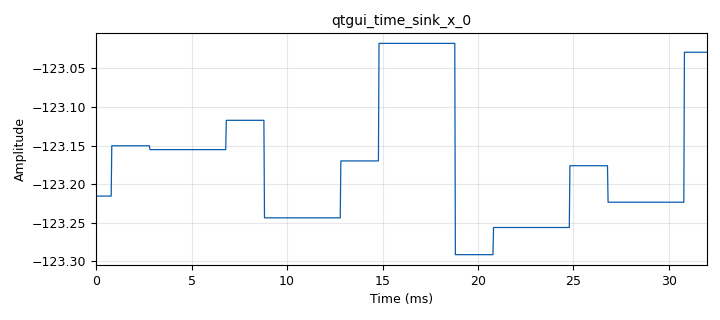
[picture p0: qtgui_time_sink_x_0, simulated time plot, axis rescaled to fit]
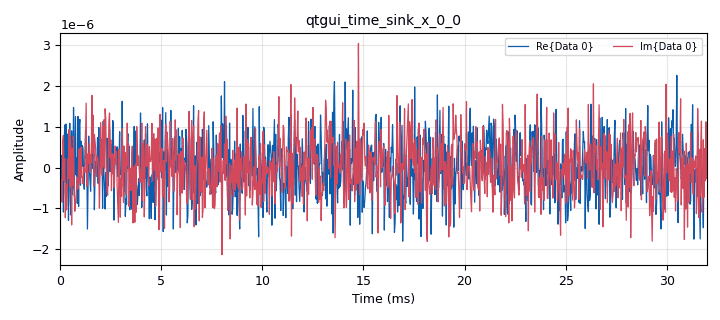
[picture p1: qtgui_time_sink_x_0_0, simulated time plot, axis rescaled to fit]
<?xml version='1.0' encoding='utf-8'?>
<?grc format='1' created='3.7.11'?>
<flow_graph>
<block>
<key>options</key>
<param><key>id</key><value>ROC_enDet</value></param>
<param><key>author</key><value>GAR</value></param>
<param><key>description</key><value>ROC curves generator for energy detector</value></param>
<param><key>generate_options</key><value>qt_gui</value></param>
<param><key>title</key><value>ROC curves energy detector</value></param>
</block>
<block>
<key>variable</key>
<param><key>id</key><value>N</value></param>
<param><key>value</key><value>32</value></param>
</block>
<block>
<key>variable</key>
<param><key>id</key><value>S</value></param>
<param><key>value</key><value>-40</value></param>
</block>
<block>
<key>variable</key>
<param><key>id</key><value>samp_rate</value></param>
<param><key>value</key><value>32000</value></param>
</block>
<block>
<key>variable</key>
<param><key>id</key><value>sigma_n</value></param>
<param><key>value</key><value>1.0000e-06
</value></param>
</block>
<block>
<key>variable</key>
<param><key>id</key><value>sigma_s</value></param>
<param><key>value</key><value>5e-6</value></param>
</block>
<block>
<key>variable</key>
<param><key>id</key><value>theta</value></param>
<param><key>value</key><value>0.0</value></param>
</block>
<block>
<key>variable</key>
<param><key>id</key><value>thr</value></param>
<param><key>value</key><value>0.0086</value></param>
</block>
<block>
<key>variable</key>
<param><key>id</key><value>w</value></param>
<param><key>value</key><value>-60</value></param>
</block>
<block>
<key>epy_block</key>
<param><key>id</key><value>ROC_energy_block</value></param>
<param><key>_source_code</key><value>"""
Embedded Python Blocks:

Each time this file is saved, GRC will instantiate the first class it finds
to get ports and parameters of your block. The arguments to __init__  will
be the parameters. All of them are required to have default values!
"""

import numpy as np
from gnuradio import gr


class blk(gr.sync_block):  # other base classes are basic_block, decim_block, interp_block
	"""Embedded Python Block example - a simple multiply const"""

	def __init__(self, N=32,thr=1e-12,fun='cal'):  # only default arguments here
		"""arguments to this function show up as parameters in GRC"""
		self.N = N
		self.thr = thr
		self.fun = fun

		gr.sync_block.__init__(
			self,
			name='Embedded Python Block',   # will show up in GRC
			in_sig=[(np.complex64,self.N)],
			out_sig=[np.float32,np.float32,np.float32]
		)
		# if an attribute with the same name as a parameter is found,
		# a callback is registered (properties work, too).

	def work(self, input_items, output_items):
		"""Energy and thresholding spetrum sensing"""
		# energy is calculated for each row in the input matrix, due to the size of the input block in terms of pagesize shape(input)=[pagesize/N,N] 
		if self.fun == 'cal':
#			print('Estimated noise floor in dB: ', 10*np.log10(0.5*np.mean(np.var(np.real(input_items[0]),axis=1)+np.var(np.imag(input_items[0]),axis=1))))
			output_items[0][:] = 10*np.log10(0.5*np.mean(np.var(np.real(input_items[0]),axis=1)+np.var(np.imag(input_items[0]),axis=1)))
			output_items[1][:] = 0
			output_items[2][:] = 0

		elif self.fun == 'meas':
			output_items[0][:] = np.sum(np.sum(np.absolute(input_items[0])**2,axis=1) &gt; self.thr) 
			output_items[1][:] = float(np.shape(input_items[0])[0]) 
			output_items[2][:] = self.thr
		return len(output_items[0])</value></param>
<param><key>fun</key><value>'cal'</value></param>
<param><key>N</key><value>N</value></param>
<param><key>thr</key><value>thr</value></param>
</block>
<block>
<key>analog_noise_source_x</key>
<param><key>id</key><value>analog_noise_source_x_0</value></param>
<param><key>amp</key><value>theta*sigma_s</value></param>
<param><key>noise_type</key><value>analog.GR_GAUSSIAN</value></param>
<param><key>type</key><value>complex</value></param>
<param><key>seed</key><value>0</value></param>
</block>
<block>
<key>blocks_file_sink</key>
<param><key>id</key><value>blocks_file_sink_0</value></param>
<param><key>file</key><value>C:\Users\usuario\Documents\gnuRadio\Misc\SpectrumSensing\expFile.dat</value></param>
<param><key>type</key><value>float</value></param>
<param><key>unbuffered</key><value>True</value></param>
</block>
<block>
<key>blocks_file_sink</key>
<param><key>id</key><value>blocks_file_sink_0_0</value></param>
<param><key>file</key><value>C:\Users\usuario\Documents\gnuRadio\Misc\SpectrumSensing\expFile.dat</value></param>
<param><key>type</key><value>float</value></param>
<param><key>unbuffered</key><value>True</value></param>
</block>
<block>
<key>blocks_file_sink</key>
<param><key>id</key><value>blocks_file_sink_0_0_0</value></param>
<param><key>file</key><value>C:\Users\usuario\Documents\gnuRadio\Misc\SpectrumSensing\expFile.dat</value></param>
<param><key>type</key><value>float</value></param>
<param><key>unbuffered</key><value>True</value></param>
</block>
<block>
<key>blocks_stream_to_vector</key>
<param><key>id</key><value>blocks_stream_to_vector_0</value></param>
<param><key>type</key><value>complex</value></param>
<param><key>num_items</key><value>N</value></param>
</block>
<block>
<key>blocks_throttle</key>
<param><key>id</key><value>blocks_throttle_0</value></param>
<param><key>samples_per_second</key><value>samp_rate</value></param>
<param><key>type</key><value>complex</value></param>
</block>
<block>
<key>channels_channel_model</key>
<param><key>id</key><value>channels_channel_model_0</value></param>
<param><key>epsilon</key><value>1.0</value></param>
<param><key>freq_offset</key><value>0.0</value></param>
<param><key>noise_voltage</key><value>sigma_n</value></param>
<param><key>seed</key><value>0</value></param>
<param><key>taps</key><value>1.0 + 1.0j</value></param>
</block>
<block>
<key>qtgui_time_sink_x</key>
<param><key>id</key><value>qtgui_time_sink_x_0</value></param>
<param><key>color1</key><value>"blue"</value></param>
<param><key>label1</key><value></value></param>
<param><key>size</key><value>1024</value></param>
<param><key>srate</key><value>samp_rate</value></param>
<param><key>type</key><value>float</value></param>
</block>
<block>
<key>qtgui_time_sink_x</key>
<param><key>id</key><value>qtgui_time_sink_x_0_0</value></param>
<param><key>color1</key><value>"blue"</value></param>
<param><key>label1</key><value></value></param>
<param><key>color2</key><value>"red"</value></param>
<param><key>label2</key><value></value></param>
<param><key>size</key><value>1024</value></param>
<param><key>srate</key><value>samp_rate</value></param>
<param><key>type</key><value>complex</value></param>
</block>
<connection><source_block_id>ROC_energy_block</source_block_id><sink_block_id>blocks_file_sink_0</sink_block_id><source_key>0</source_key><sink_key>0</sink_key></connection>
<connection><source_block_id>ROC_energy_block</source_block_id><sink_block_id>qtgui_time_sink_x_0</sink_block_id><source_key>0</source_key><sink_key>0</sink_key></connection>
<connection><source_block_id>ROC_energy_block</source_block_id><sink_block_id>blocks_file_sink_0_0</sink_block_id><source_key>1</source_key><sink_key>0</sink_key></connection>
<connection><source_block_id>ROC_energy_block</source_block_id><sink_block_id>blocks_file_sink_0_0_0</sink_block_id><source_key>2</source_key><sink_key>0</sink_key></connection>
<connection><source_block_id>analog_noise_source_x_0</source_block_id><sink_block_id>blocks_throttle_0</sink_block_id><source_key>0</source_key><sink_key>0</sink_key></connection>
<connection><source_block_id>blocks_stream_to_vector_0</source_block_id><sink_block_id>ROC_energy_block</sink_block_id><source_key>0</source_key><sink_key>0</sink_key></connection>
<connection><source_block_id>blocks_throttle_0</source_block_id><sink_block_id>channels_channel_model_0</sink_block_id><source_key>0</source_key><sink_key>0</sink_key></connection>
<connection><source_block_id>channels_channel_model_0</source_block_id><sink_block_id>blocks_stream_to_vector_0</sink_block_id><source_key>0</source_key><sink_key>0</sink_key></connection>
<connection><source_block_id>channels_channel_model_0</source_block_id><sink_block_id>qtgui_time_sink_x_0_0</sink_block_id><source_key>0</source_key><sink_key>0</sink_key></connection>
</flow_graph>
